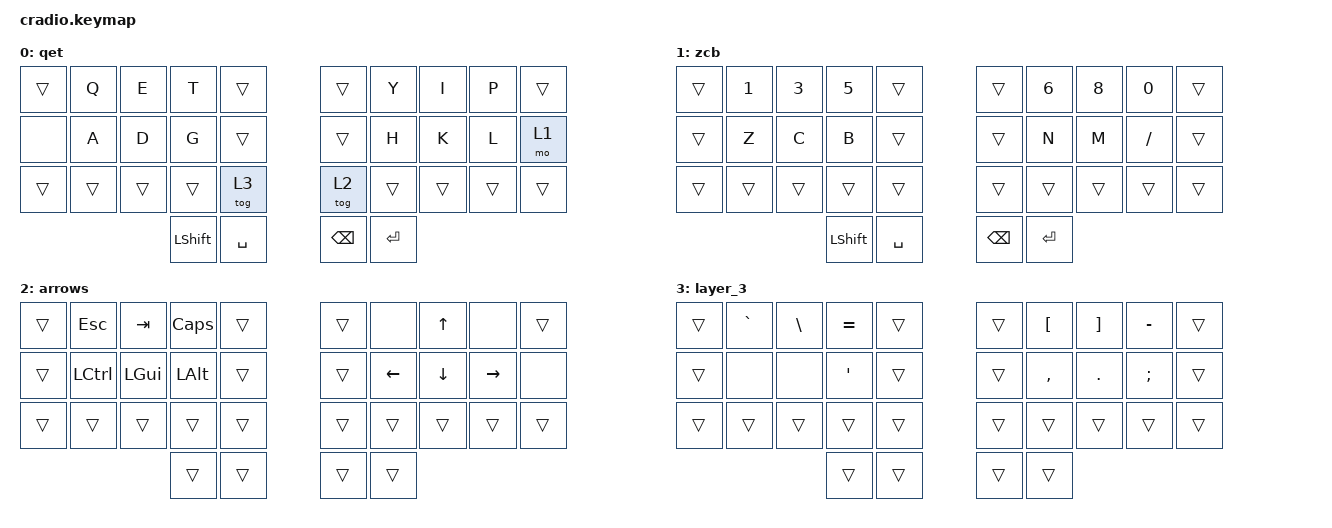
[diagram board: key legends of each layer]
// Copyright (c) 2022 The ZMK Contributors
// SPDX-License-Identifier: MIT

#include <behaviors.dtsi>
#include <dt-bindings/zmk/keys.h>

// Home row mods macro

#define HRML(k1,k2,k3,k4) &ht LSHFT k1  &ht LALT k2  &ht LCTRL k3  &ht LGUI k4
#define HRMR(k1,k2,k3,k4) &ht RGUI k1  &ht RCTRL k2  &ht RALT k3  &ht RSHFT k4

/ {
    behaviors {
        ht: hold_tap {
            compatible = "zmk,behavior-hold-tap";
            #binding-cells = <2>;
            flavor = "tap-preferred";
            tapping-term-ms = <220>;
            quick-tap-ms = <150>;
            require-prior-idle-ms = <100>;
            bindings = <&kp>, <&kp>;
        };
    };

    conditional_layers {
        compatible = "zmk,conditional-layers";

        tri_layer {
            if-layers = <0 0>;
            then-layer = <0>;
        };
    };

    combos {
        compatible = "zmk,combos";

        letter_W {
            bindings = <&kp W>;
            key-positions = <1 2>;
            layers = <0>;
        };

        letter_R {
            bindings = <&kp R>;
            key-positions = <2 3>;
            layers = <0>;
        };

        letter_S {
            bindings = <&kp S>;
            key-positions = <11 12>;
        };

        letter_F {
            bindings = <&kp F>;
            key-positions = <12 13>;
            layers = <0>;
        };

        gui {
            bindings = <&kp LGUI>;
            key-positions = <10 31>;
            layers = <0 1 2 3>;
        };

        ctrl {
            bindings = <&kp LEFT_CONTROL>;
            key-positions = <20 32>;
            layers = <0 1 2 3>;
        };

        alt {
            bindings = <&kp LEFT_ALT>;
            key-positions = <10 33>;
            layers = <0 2 1 3>;
        };

        letter_u {
            bindings = <&kp U>;
            key-positions = <6 7>;
            layers = <0>;
        };

        letter_o {
            bindings = <&kp O>;
            key-positions = <7 8>;
            layers = <0>;
        };

        letter_j {
            bindings = <&kp J>;
            key-positions = <16 17>;
            layers = <0>;
        };

        letter_x {
            bindings = <&kp X>;
            key-positions = <11 12>;
            layers = <1>;
        };

        letter_v {
            bindings = <&kp V>;
            key-positions = <12 13>;
            layers = <1>;
        };

        n_2 {
            bindings = <&kp NUMBER_2>;
            key-positions = <1 2>;
            layers = <1>;
        };

        n_4 {
            bindings = <&kp NUMBER_4>;
            key-positions = <2 3>;
            layers = <1>;
        };

        n_7 {
            bindings = <&kp NUMBER_7>;
            key-positions = <6 7>;
            layers = <1>;
        };

        n_9 {
            bindings = <&kp N9>;
            key-positions = <7 8>;
            layers = <1>;
        };
    };

    macros {
        mpApp: mpApp {
            compatible = "zmk,behavior-macro";
            #binding-cells = <0>;
            bindings = <&kp M &kp P &kp LS(A) &kp P &kp P>;
            label = "MPAPP";
        };

        mpDoc: mpDoc {
            compatible = "zmk,behavior-macro";
            #binding-cells = <0>;
            bindings = <&kp M &kp P &kp LS(D) &kp O &kp C>;
            label = "MPDOC";
        };

        open: open {
            compatible = "zmk,behavior-macro";
            #binding-cells = <0>;
            bindings = <&kp O &kp P &kp E &kp N>;
            label = "OPEN";
        };

        ls: ls {
            compatible = "zmk,behavior-macro";
            #binding-cells = <0>;
            bindings = <&kp L &kp S>;
            label = "LS";
        };

        cd: cd {
            compatible = "zmk,behavior-macro";
            #binding-cells = <0>;
            bindings = <&kp C &kp D>;
            label = "CD";
        };

        onepass: onepass {
            compatible = "zmk,behavior-macro";
            #binding-cells = <0>;
            bindings = <&kp M &kp P &kp LS(A) &kp P &kp P &kp SPACE &kp N1 &kp LS(P) &kp A &kp S &kp S &kp W &kp O &kp R &kp D>;
            label = "ONEPASS";
        };

        icloud: icloud {
            compatible = "zmk,behavior-macro";
            #binding-cells = <0>;
            bindings = <&kp I &kp LS(C) &kp L &kp O &kp U &kp D>;
            label = "ICLOUD";
        };

        code: code {
            compatible = "zmk,behavior-macro";
            #binding-cells = <0>;
            bindings = <&kp C &kp O &kp D &kp E>;
            label = "CODE";
        };

        browse: browse {
            compatible = "zmk,behavior-macro";
            #binding-cells = <0>;
            bindings = <&kp LS(B) &kp R &kp O &kp W &kp S &kp E &kp R>;
            label = "BROWSE";
        };
    };

    keymap {
        compatible = "zmk,keymap";

        qet {
            bindings = <
&trans  &kp Q   &kp E   &kp T      &trans       &trans    &kp Y    &kp I   &kp P   &trans
&none   &kp A   &kp D   &kp G      &trans       &trans    &kp H    &kp K   &kp L   &mo 1
&trans  &trans  &trans  &trans     &tog 3       &tog 2    &trans   &trans  &trans  &trans
                        &kp LSHFT  &kp SPACE    &kp BSPC  &kp RET
            >;
        };

        zcb {
            bindings = <
&trans  &kp N1  &kp N3  &kp N5     &trans       &trans    &kp N6   &kp N8  &kp N0    &trans
&trans  &kp Z   &kp C   &kp B      &trans       &trans    &kp N    &kp M   &kp FSLH  &trans
&trans  &trans  &trans  &trans     &trans       &trans    &trans   &trans  &trans    &trans
                        &kp LSHFT  &kp SPACE    &kp BSPC  &kp RET
            >;
        };

        arrows {
            bindings = <
&trans  &kp ESC    &kp TAB   &kp CAPS  &trans    &trans  &none     &kp UP    &none      &trans
&trans  &kp LCTRL  &kp LGUI  &kp LALT  &trans    &trans  &kp LEFT  &kp DOWN  &kp RIGHT  &none
&trans  &trans     &trans    &trans    &trans    &trans  &trans    &trans    &trans     &trans
                             &trans    &trans    &trans  &trans
            >;
        };

        layer_3 {
            bindings = <
&trans  &kp GRAVE  &kp BSLH  &kp EQUAL  &trans    &trans  &kp LBKT   &kp RBKT  &kp MINUS  &trans
&trans  &none      &none     &kp SQT    &trans    &trans  &kp COMMA  &kp DOT   &kp SEMI   &trans
&trans  &trans     &trans    &trans     &trans    &trans  &trans     &trans    &trans     &trans
                             &trans     &trans    &trans  &trans
            >;
        };
    };
};
